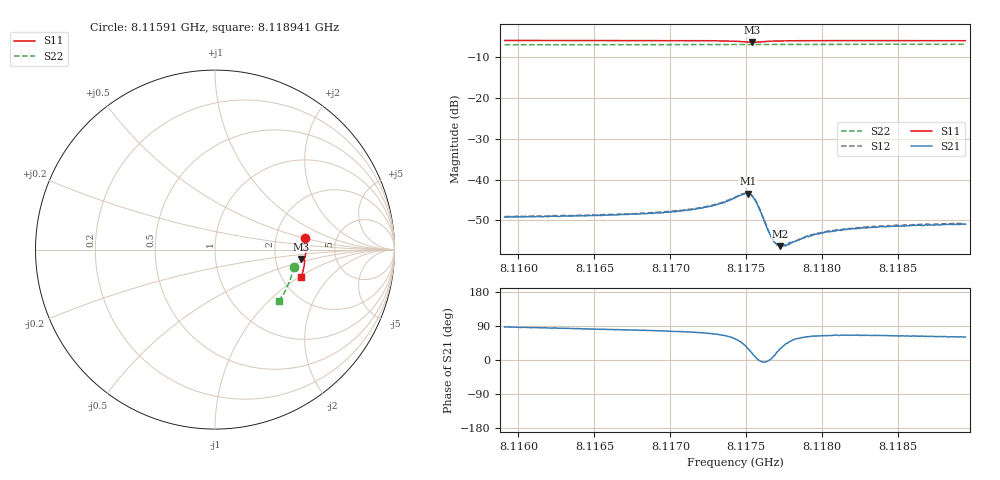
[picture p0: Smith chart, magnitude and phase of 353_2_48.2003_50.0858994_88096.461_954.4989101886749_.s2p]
#  HZ  S  RI  R  50.00
! Rohde & Schwarz Vector Network Analyzer
! Rohde-Schwarz,ZNB20-2Port,1311601062101988,3.16
! Created: UTC 3/20/2024, 11:51:53 AM
! freq[Hz]  re:S11  im:S11  re:S21  im:S21  re:S12  im:S12  re:S22  im:S22
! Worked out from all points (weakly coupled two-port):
!   401 points, 8.11591 GHz to 8.118941 GHz, reference 50 ohm
!   highest |S21| = -43.42 dB at 8.117509 GHz (marker M1); lowest = -56.3 dB at 8.117721 GHz (marker M2)
!   lowest |S11| = -6.3 dB at 8.117539 GHz (marker M3), VSWR 2.86, Z = 140 - j18.9 ohm
!   |S11| at or under -10 dB: nowhere
!   |S22| runs from -7.0 to -6.8 dB; largest |S21 - S12| = 0.00017
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8.1159098e9  0.5034 0.0649  0.000186 0.00347  0.000243 0.00354  0.4382 -0.0951
8.1164176e9  0.5061 0.0268  0.000484 0.00357  0.000538 0.00363  0.4307 -0.1294
8.1169254e9  0.5057 -0.0122  0.00088 0.00381  0.000924 0.00388  0.4204 -0.1633
8.1171224e9  0.5044 -0.028  0.00118 0.00409  0.00125 0.00414  0.4158 -0.1762
8.1172513e9  0.5023 -0.0392  0.00155 0.00442  0.00163 0.00447  0.4125 -0.1846
8.1173498e9  0.4993 -0.0486  0.00219 0.00471  0.00231 0.00481  0.4097 -0.191
8.1174256e9  0.4939 -0.0559  0.00334 0.00496  0.00345 0.00504  0.4076 -0.1959
8.1174786e9  0.4864 -0.0589  0.00483 0.00451  0.00496 0.00455  0.4056 -0.1992
8.117509e9  0.4813 -0.0569  0.00577 0.00349  0.00589 0.0035  0.4046 -0.2009
8.1175393e9  0.479 -0.0518  0.00597 0.00181  0.00611 0.0018  0.4037 -0.2026
8.1175544e9  0.4797 -0.0489  0.00565 0.000986  0.0058 0.000964  0.4033 -0.2033
8.1175772e9  0.4829 -0.0457  0.00476 7.55e-05  0.00487 2.07e-05  0.4031 -0.2045
8.1176378e9  0.4927 -0.0474  0.00251 -0.000162  0.00256 -0.000202  0.4015 -0.2085
8.1176681e9  0.4954 -0.0509  0.00191 0.000144  0.00191 0.000168  0.4007 -0.2104
8.1176909e9  0.4968 -0.0535  0.00161 0.000419  0.00163 0.000425  0.4002 -0.2119
8.1177212e9  0.4979 -0.0569  0.00133 0.000749  0.00139 0.000767  0.3992 -0.2138
8.1177667e9  0.4988 -0.0618  0.00113 0.0011  0.00119 0.00112  0.3981 -0.2168
8.1179334e9  0.4984 -0.0772  0.000943 0.00185  0.000979 0.00187  0.3929 -0.2273
8.118085e9  0.4966 -0.0897  0.00097 0.00214  0.00101 0.00218  0.3876 -0.2367
8.1182896e9  0.4937 -0.1055  0.00106 0.00233  0.00112 0.00237  0.3805 -0.2493
8.1184412e9  0.4912 -0.1168  0.00117 0.00238  0.00119 0.00242  0.3749 -0.2583
8.1189414e9  0.4807 -0.1529  0.00138 0.00248  0.00139 0.00252  0.3552 -0.2873
